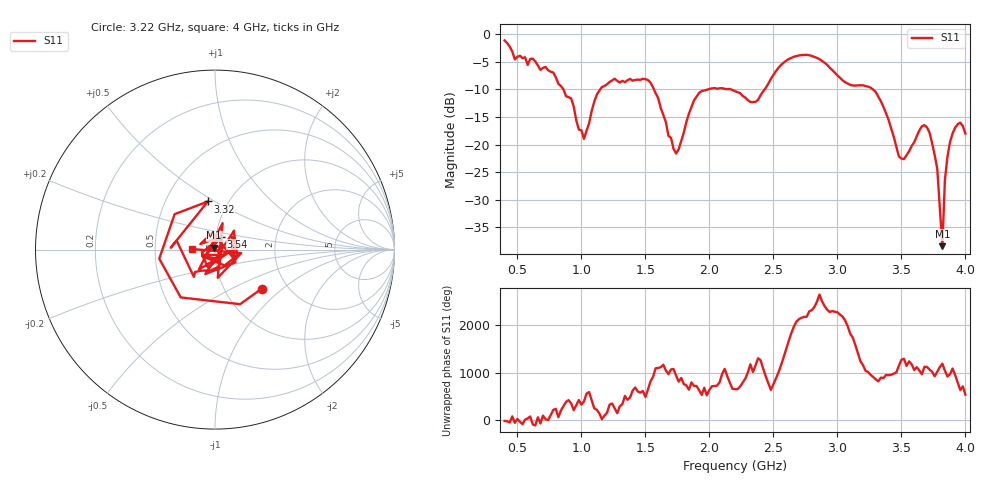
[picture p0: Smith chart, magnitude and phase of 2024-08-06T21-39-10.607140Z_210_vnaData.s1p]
!Created with skrf (http://scikit-rf.org).
# Hz S RI R 50.0
!freq ReS11 ImS11
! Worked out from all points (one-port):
!   181 points, 400 MHz to 4 GHz, reference 50 ohm
!   lowest |S11| = -38.4 dB at 3.82 GHz (marker M1), VSWR 1.02, Z = 49.6 + j1.11 ohm
!   |S11| at or under -10 dB: 859.8 MHz to 1.147 GHz (287.4 MHz wide, 28.6 % of centre); 1.567 GHz to 1.989 GHz (422.2 MHz wide, 23.7 % of centre); 3.278 GHz to end of sweep (the widest 3 of 4)
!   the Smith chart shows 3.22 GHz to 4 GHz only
!   S11 on the Smith chart (normalised r, x): 3.22 GHz: 1.49, -0.73; 3.32 GHz: 0.80, +0.47; 3.54 GHz: 1.06, +0.15; 4 GHz: 0.78, +0.00
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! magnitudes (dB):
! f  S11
! 400 MHz  -1.1
! 480 MHz  -4.6
! 620 MHz  -4.4
! 860 MHz  -10.0
! 1.02 GHz  -19.0
! 1.14 GHz  -10.2
! 1.3 GHz  -8.8
! 1.54 GHz  -8.8
! 1.72 GHz  -20.8
! 1.76 GHz  -20.8
! 1.92 GHz  -10.6
! 2.2 GHz  -10.3
! 2.36 GHz  -12.3
! 2.66 GHz  -4.1
! 3.1 GHz  -9.2
! 3.22 GHz  -9.4
! 3.32 GHz  -11.3
! 3.48 GHz  -22.1
! 3.54 GHz  -21.9
! 3.56 GHz  -21.2
! 3.66 GHz  -16.7
! 3.72 GHz  -17.8
! 3.78 GHz  -24.3
! 3.82 GHz  -38.4
! 3.84 GHz  -26.4
! 3.88 GHz  -19.5
! 3.96 GHz  -16.0
! 4 GHz  -18.0
